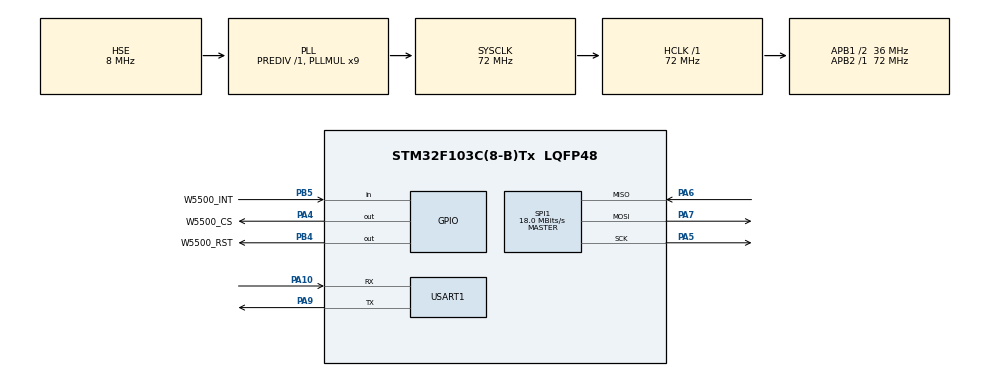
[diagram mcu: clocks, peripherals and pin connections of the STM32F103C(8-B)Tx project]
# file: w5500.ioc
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Mcu.Family=STM32F1
Mcu.Name=STM32F103C(8-B)Tx
Mcu.Package=LQFP48
NVIC.PriorityGroup=NVIC_PRIORITYGROUP_4
NVIC.USART1_IRQn=true\:0\:0\:false\:false\:true\:true\:true\:true
PA10.Mode=Asynchronous
PA10.Signal=USART1_RX
PA13.Mode=Serial_Wire
PA13.Signal=SYS_JTMS-SWDIO
PA14.Mode=Serial_Wire
PA14.Signal=SYS_JTCK-SWCLK
PA4.GPIO_Label=W5500_CS
PA4.GPIO_ModeDefaultOutputPP=GPIO_MODE_OUTPUT_PP
PA4.GPIO_PuPd=GPIO_PULLDOWN
PA4.Signal=GPIO_Output
PA5.Mode=Full_Duplex_Master
PA5.Signal=SPI1_SCK
PA6.Mode=Full_Duplex_Master
PA6.Signal=SPI1_MISO
PA7.Mode=Full_Duplex_Master
PA7.Signal=SPI1_MOSI
PA9.Mode=Asynchronous
PA9.Signal=USART1_TX
PB4.GPIO_Label=W5500_RST
PB4.GPIO_PuPd=GPIO_PULLUP
PB4.Signal=GPIO_Output
PB5.GPIO_Label=W5500_INT
PB5.GPIO_PuPd=GPIO_PULLUP
PB5.Signal=GPIO_Input
PD0-OSC_IN.Mode=HSE-External-Oscillator
PD0-OSC_IN.Signal=RCC_OSC_IN
PD1-OSC_OUT.Mode=HSE-External-Oscillator
PD1-OSC_OUT.Signal=RCC_OSC_OUT
ProjectManager.HeapSize=0x200
ProjectManager.StackSize=0x400
ProjectManager.TargetToolchain=STM32CubeIDE
RCC.AHBFreq_Value=72000000
RCC.APB1CLKDivider=RCC_HCLK_DIV2
RCC.APB1Freq_Value=36000000
RCC.APB1TimFreq_Value=72000000
RCC.APB2Freq_Value=72000000
RCC.APB2TimFreq_Value=72000000
RCC.HCLKFreq_Value=72000000
RCC.PLLMUL=RCC_PLL_MUL9
RCC.PLLSourceVirtual=RCC_PLLSOURCE_HSE
RCC.SYSCLKFreq_VALUE=72000000
RCC.SYSCLKSource=RCC_SYSCLKSOURCE_PLLCLK
RCC.USBFreq_Value=72000000
SPI1.BaudRatePrescaler=SPI_BAUDRATEPRESCALER_4
SPI1.CalculateBaudRate=18.0 MBits/s
SPI1.Direction=SPI_DIRECTION_2LINES
SPI1.Mode=SPI_MODE_MASTER
SPI1.VirtualType=VM_MASTER
USART1.VirtualMode=VM_ASYNC
board=custom

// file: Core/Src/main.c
/* USER CODE BEGIN Header */
/**
  ******************************************************************************
  * @file           : main.c
  * @brief          : Main program body
  ******************************************************************************
  * @attention
  *
  * Copyright (c) 2026 STMicroelectronics.
  * All rights reserved.
  *
  * This software is licensed under terms that can be found in the LICENSE file
  * in the root directory of this software component.
  * If no LICENSE file comes with this software, it is provided as-IS.
  *
  ******************************************************************************
  */
/* USER CODE END Header */
#include "main.h"
#include "spi.h"
#include "usart.h"
#include "gpio.h"

/* USER CODE BEGIN Includes */
#include "tcp_client.h"
#include "tcp_server.h"
#include "udp_server.h"
#include "udp_client.h"
#include <stdio.h>

/* USER CODE END Includes */

/* USER CODE BEGIN PD */
/* Application mode selector: edit this single line to switch the active W5500
 * mode. Available options:
 *   APP_MODE_TCP_CLIENT  - W5500 connects to a remote TCP server and echoes
 *   APP_MODE_TCP_SERVER  - W5500 accepts one TCP client and echoes
 *   APP_MODE_UDP_SERVER  - W5500 echoes UDP datagrams back to their sender
 *   APP_MODE_UDP_CLIENT  - W5500 sends a greeting then echoes UDP datagrams
 */
#define APP_MODE_TCP_CLIENT  0
#define APP_MODE_TCP_SERVER  1
#define APP_MODE_UDP_SERVER  2
#define APP_MODE_UDP_CLIENT  3

#define APP_MODE             APP_MODE_TCP_SERVER

/* USER CODE END PD */

void SystemClock_Config(void);

int main(void)
{

  /* MCU Configuration--------------------------------------------------------*/

  /* Reset of all peripherals, Initializes the Flash interface and the Systick. */
  HAL_Init();

  /* Configure the system clock */
  SystemClock_Config();

  /* Initialize all configured peripherals */
  MX_GPIO_Init();
  MX_USART1_UART_Init();
  MX_SPI1_Init();
  /* USER CODE BEGIN 2 */
#if (APP_MODE == APP_MODE_TCP_CLIENT)
  TCP_Client_Init();
#elif (APP_MODE == APP_MODE_TCP_SERVER)
  TCP_Server_Init();
#elif (APP_MODE == APP_MODE_UDP_SERVER)
  UDP_Server_Init();
#elif (APP_MODE == APP_MODE_UDP_CLIENT)
  UDP_Client_Init();
#else
#error "Unsupported APP_MODE"
#endif
  /* USER CODE END 2 */

  /* Infinite loop */
  while (1)
  {

    /* USER CODE BEGIN 3 */
#if (APP_MODE == APP_MODE_TCP_CLIENT)
    TCP_Client_Process();
#elif (APP_MODE == APP_MODE_TCP_SERVER)
    TCP_Server_Process();
#elif (APP_MODE == APP_MODE_UDP_SERVER)
    UDP_Server_Process();
#elif (APP_MODE == APP_MODE_UDP_CLIENT)
    UDP_Client_Process();
#endif
  }
  /* USER CODE END 3 */
}

void SystemClock_Config(void)
{
  RCC_OscInitTypeDef RCC_OscInitStruct = {0};
  RCC_ClkInitTypeDef RCC_ClkInitStruct = {0};

  /** Initializes the RCC Oscillators according to the specified parameters
  * in the RCC_OscInitTypeDef structure.
  */
  RCC_OscInitStruct.OscillatorType = RCC_OSCILLATORTYPE_HSE;
  RCC_OscInitStruct.HSEState = RCC_HSE_ON;
  RCC_OscInitStruct.HSEPredivValue = RCC_HSE_PREDIV_DIV1;
  RCC_OscInitStruct.HSIState = RCC_HSI_ON;
  RCC_OscInitStruct.PLL.PLLState = RCC_PLL_ON;
  RCC_OscInitStruct.PLL.PLLSource = RCC_PLLSOURCE_HSE;
  RCC_OscInitStruct.PLL.PLLMUL = RCC_PLL_MUL9;
  if (HAL_RCC_OscConfig(&RCC_OscInitStruct) != HAL_OK)
  {
    Error_Handler();
  }

  /** Initializes the CPU, AHB and APB buses clocks
  */
  RCC_ClkInitStruct.ClockType = RCC_CLOCKTYPE_HCLK|RCC_CLOCKTYPE_SYSCLK
                              |RCC_CLOCKTYPE_PCLK1|RCC_CLOCKTYPE_PCLK2;
  RCC_ClkInitStruct.SYSCLKSource = RCC_SYSCLKSOURCE_PLLCLK;
  RCC_ClkInitStruct.AHBCLKDivider = RCC_SYSCLK_DIV1;
  RCC_ClkInitStruct.APB1CLKDivider = RCC_HCLK_DIV2;
  RCC_ClkInitStruct.APB2CLKDivider = RCC_HCLK_DIV1;

  if (HAL_RCC_ClockConfig(&RCC_ClkInitStruct, FLASH_LATENCY_2) != HAL_OK)
  {
    Error_Handler();
  }
}

/* USER CODE BEGIN 4 */
// printf重定向到USART1：newlib的_write最终会调用__io_putchar
int __io_putchar(int ch)
{
  HAL_UART_Transmit(&huart1, (uint8_t*)&ch, 1, HAL_MAX_DELAY);
  return ch;
}
/* USER CODE END 4 */

void Error_Handler(void)
{
  __disable_irq();
  while (1)
  {
  }
}
